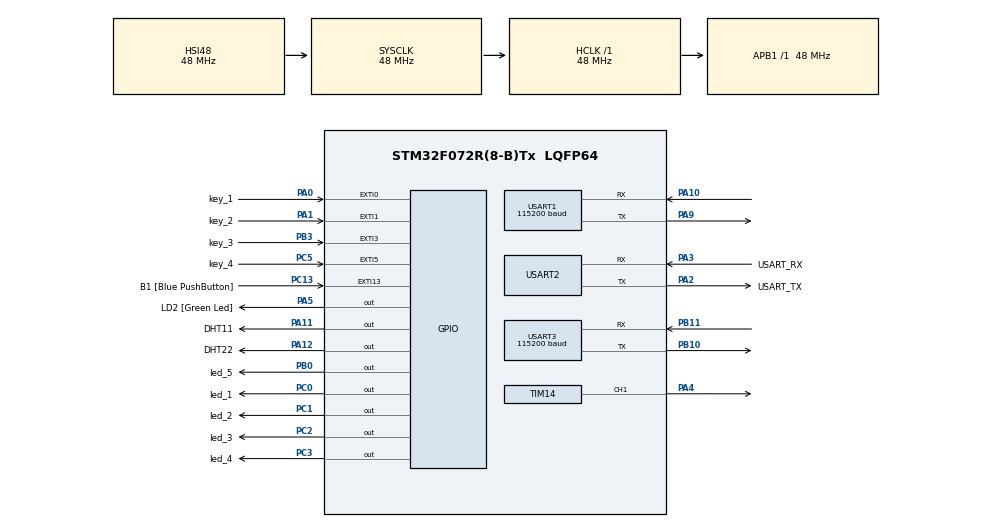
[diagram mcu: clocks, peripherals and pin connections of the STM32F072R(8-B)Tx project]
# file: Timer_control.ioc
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Mcu.Family=STM32F0
Mcu.Name=STM32F072R(8-B)Tx
Mcu.Package=LQFP64
NVIC.EXTI0_1_IRQn=true\:3\:0\:true\:false\:true\:true\:false\:true
NVIC.EXTI2_3_IRQn=true\:3\:0\:true\:false\:true\:true\:false\:true
NVIC.EXTI4_15_IRQn=true\:3\:0\:true\:false\:true\:true\:false\:true
NVIC.TIM6_DAC_IRQn=true\:1\:0\:true\:false\:true\:true\:false\:true
NVIC.TIM7_IRQn=true\:2\:0\:true\:false\:true\:true\:false\:true
NVIC.USART1_IRQn=true\:2\:0\:true\:false\:true\:true\:false\:true
PA0.GPIO_Label=key_1
PA0.Signal=GPXTI0
PA1.GPIO_Label=key_2
PA1.Signal=GPXTI1
PA10.Mode=Asynchronous
PA10.Signal=USART1_RX
PA11.GPIO_Label=DHT11
PA11.GPIO_PuPd=GPIO_PULLUP
PA11.PinState=GPIO_PIN_SET
PA11.Signal=GPIO_Output
PA12.GPIO_Label=DHT22
PA12.GPIO_PuPd=GPIO_PULLUP
PA12.PinState=GPIO_PIN_SET
PA12.Signal=GPIO_Output
PA13.GPIO_Label=TMS
PA13.Mode=Serial_Wire
PA13.Signal=SYS_SWDIO
PA14.GPIO_Label=TCK
PA14.Mode=Serial_Wire
PA14.Signal=SYS_SWCLK
PA2.GPIO_Label=USART_TX
PA2.GPIO_Mode=GPIO_MODE_AF_PP
PA2.GPIO_PuPd=GPIO_NOPULL
PA2.GPIO_Speed=GPIO_SPEED_FREQ_LOW
PA2.Mode=Asynchronous
PA2.Signal=USART2_TX
PA3.GPIO_Label=USART_RX
PA3.GPIO_Mode=GPIO_MODE_AF_PP
PA3.GPIO_PuPd=GPIO_NOPULL
PA3.GPIO_Speed=GPIO_SPEED_FREQ_LOW
PA3.Mode=Asynchronous
PA3.Signal=USART2_RX
PA4.Signal=S_TIM14_CH1
PA5.GPIO_Label=LD2 [Green Led]
PA5.GPIO_Mode=GPIO_MODE_OUTPUT_PP
PA5.GPIO_PuPd=GPIO_NOPULL
PA5.GPIO_Speed=GPIO_SPEED_FREQ_LOW
PA5.Signal=GPIO_Output
PA9.Mode=Asynchronous
PA9.Signal=USART1_TX
PB0.GPIO_Label=led_5
PB0.Signal=GPIO_Output
PB10.Mode=Asynchronous
PB10.Signal=USART3_TX
PB11.Mode=Asynchronous
PB11.Signal=USART3_RX
PB3.GPIO_Label=key_3
PB3.Signal=GPXTI3
PC0.GPIO_Label=led_1
PC0.Signal=GPIO_Output
PC1.GPIO_Label=led_2
PC1.Signal=GPIO_Output
PC13.GPIO_Label=B1 [Blue PushButton]
PC13.GPIO_ModeDefaultEXTI=GPIO_MODE_IT_FALLING
PC13.Signal=GPXTI13
PC14-OSC32_IN.Mode=LSE-External-Oscillator
PC14-OSC32_IN.Signal=RCC_OSC32_IN
PC15-OSC32_OUT.Mode=LSE-External-Oscillator
PC15-OSC32_OUT.Signal=RCC_OSC32_OUT
PC2.GPIO_Label=led_3
PC2.Signal=GPIO_Output
PC3.GPIO_Label=led_4
PC3.Signal=GPIO_Output
PC5.GPIO_Label=key_4
PC5.Signal=GPXTI5
PF0-OSC_IN.Mode=HSE-External-Clock-Source
PF0-OSC_IN.Signal=RCC_OSC_IN
PF1-OSC_OUT.Signal=RCC_OSC_OUT
ProjectManager.HeapSize=0x200
ProjectManager.StackSize=0x400
ProjectManager.TargetToolchain=MDK-ARM V5.32
RCC.AHBFreq_Value=48000000
RCC.APB1Freq_Value=48000000
RCC.APB1TimFreq_Value=48000000
RCC.FLatency-AdvancedSettings=FLASH_LATENCY_1
RCC.HCLKFreq_Value=48000000
RCC.PLLDivider=RCC_PREDIV_DIV2
RCC.PLLMUL=RCC_PLL_MUL12
RCC.PREFETCH_ENABLE-AdvancedSettings=1
RCC.SYSCLKFreq_VALUE=48000000
RCC.SYSCLKSource=RCC_SYSCLKSOURCE_HSI48
SH.S_TIM14_CH1.0=TIM14_CH1,PWM Generation1 CH1
TIM14.AutoReloadPreload=TIM_AUTORELOAD_PRELOAD_ENABLE
TIM14.Channel=TIM_CHANNEL_1
TIM14.Period=100-1
TIM14.Prescaler=480-1
TIM6.AutoReloadPreload=TIM_AUTORELOAD_PRELOAD_ENABLE
TIM6.Period=1000-1
TIM6.Prescaler=48-1
TIM7.AutoReloadPreload=TIM_AUTORELOAD_PRELOAD_ENABLE
TIM7.Period=1000-1
TIM7.Prescaler=4800-1
USART1.BaudRate=115200
USART1.DMADisableonRxErrorParam=ADVFEATURE_DMA_DISABLEONRXERROR
USART1.OverrunDisableParam=ADVFEATURE_OVERRUN_DISABLE
USART1.VirtualMode-Asynchronous=VM_ASYNC
USART2.VirtualMode=VM_ASYNC
USART2.VirtualMode-Asynchronous=VM_ASYNC
USART3.BaudRate=115200
USART3.DMADisableonRxErrorParam=ADVFEATURE_DMA_DISABLEONRXERROR
USART3.OverrunDisableParam=ADVFEATURE_OVERRUN_DISABLE
USART3.VirtualMode-Asynchronous=VM_ASYNC
VP_TIM14_VS_ClockSourceINT.Mode=Enable_Timer
VP_TIM6_VS_ClockSourceINT.Mode=Enable_Timer
VP_TIM7_VS_ClockSourceINT.Mode=Enable_Timer
board=NUCLEO-F072RB

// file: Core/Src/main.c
/* USER CODE BEGIN Header */
/**
  ******************************************************************************
  * @file           : main.c
  * @brief          : Main program body
  ******************************************************************************
  * @attention
  *
  * Copyright (c) 2026 STMicroelectronics.
  * All rights reserved.
  *
  * This software is licensed under terms that can be found in the LICENSE file
  * in the root directory of this software component.
  * If no LICENSE file comes with this software, it is provided AS-IS.
  *
  ******************************************************************************
  */
/* USER CODE END Header */
#include "main.h"

/* USER CODE BEGIN Includes */
#include <stdio.h>
#include "dht_control.h"
#include "melody_control.h"
/* USER CODE END Includes */

TIM_HandleTypeDef htim6;
TIM_HandleTypeDef htim7;
TIM_HandleTypeDef htim14;

UART_HandleTypeDef huart1;
UART_HandleTypeDef huart2;
UART_HandleTypeDef huart3;

void SystemClock_Config(void);
static void MX_GPIO_Init(void);
static void MX_TIM6_Init(void);
static void MX_TIM7_Init(void);
static void MX_USART2_UART_Init(void);
static void MX_TIM14_Init(void);
static void MX_USART1_UART_Init(void);
static void MX_USART3_UART_Init(void);

int main(void)
{

  /* MCU Configuration--------------------------------------------------------*/

  /* Reset of all peripherals, Initializes the Flash interface and the Systick. */
  HAL_Init();

  /* Configure the system clock */
  SystemClock_Config();

  /* Initialize all configured peripherals */
  MX_GPIO_Init();
  MX_TIM6_Init();
  MX_TIM7_Init();
  MX_USART2_UART_Init();
  MX_TIM14_Init();
  MX_USART1_UART_Init();
  MX_USART3_UART_Init();
  /* USER CODE BEGIN 2 */
	printf("timer control.\n\r");
	song_number=Song_off;
	//getData_DHT22();
	//getData_DHT11();
	//playMelody(Song_3);
	//playMelody(Song_2);
  //playMelody(Song_4);
  //playMelody(Song_1);
	//playMelody(Song_off);
  /* USER CODE END 2 */

  /* Infinite loop */
  /* USER CODE BEGIN WHILE */
  while (1)
  {
		switch(song_number){
			case Song_1:
				playMelody(Song_1);
				break;
			case Song_2:
				playMelody(Song_2);
				break;
			case Song_3:
				playMelody(Song_3);
				break;
			case Song_4:
				playMelody(Song_4);
				break;
			case Song_5:
				playMelody(Song_5);
				break;
			case Song_6:
				playMelody(Song_6);
				break;
			case Song_off:
			default:
				playMelody(Song_off);
				break;
		}
    /* USER CODE END WHILE */

  }
}

void SystemClock_Config(void)
{
  RCC_OscInitTypeDef RCC_OscInitStruct = {0};
  RCC_ClkInitTypeDef RCC_ClkInitStruct = {0};
  RCC_PeriphCLKInitTypeDef PeriphClkInit = {0};

  /** Initializes the RCC Oscillators according to the specified parameters
  * in the RCC_OscInitTypeDef structure.
  */
  RCC_OscInitStruct.OscillatorType = RCC_OSCILLATORTYPE_HSI48;
  RCC_OscInitStruct.HSI48State = RCC_HSI48_ON;
  RCC_OscInitStruct.PLL.PLLState = RCC_PLL_NONE;
  if (HAL_RCC_OscConfig(&RCC_OscInitStruct) != HAL_OK)
  {
    Error_Handler();
  }

  /** Initializes the CPU, AHB and APB buses clocks
  */
  RCC_ClkInitStruct.ClockType = RCC_CLOCKTYPE_HCLK|RCC_CLOCKTYPE_SYSCLK
                              |RCC_CLOCKTYPE_PCLK1;
  RCC_ClkInitStruct.SYSCLKSource = RCC_SYSCLKSOURCE_HSI48;
  RCC_ClkInitStruct.AHBCLKDivider = RCC_SYSCLK_DIV1;
  RCC_ClkInitStruct.APB1CLKDivider = RCC_HCLK_DIV1;

  if (HAL_RCC_ClockConfig(&RCC_ClkInitStruct, FLASH_LATENCY_1) != HAL_OK)
  {
    Error_Handler();
  }
  PeriphClkInit.PeriphClockSelection = RCC_PERIPHCLK_USART1|RCC_PERIPHCLK_USART2;
  PeriphClkInit.Usart1ClockSelection = RCC_USART1CLKSOURCE_PCLK1;
  PeriphClkInit.Usart2ClockSelection = RCC_USART2CLKSOURCE_PCLK1;
  if (HAL_RCCEx_PeriphCLKConfig(&PeriphClkInit) != HAL_OK)
  {
    Error_Handler();
  }
}

static void MX_TIM6_Init(void)
{

  TIM_MasterConfigTypeDef sMasterConfig = {0};

  htim6.Instance = TIM6;
  htim6.Init.Prescaler = 48-1;
  htim6.Init.CounterMode = TIM_COUNTERMODE_UP;
  htim6.Init.Period = 1000-1;
  htim6.Init.AutoReloadPreload = TIM_AUTORELOAD_PRELOAD_ENABLE;
  if (HAL_TIM_Base_Init(&htim6) != HAL_OK)
  {
    Error_Handler();
  }
  sMasterConfig.MasterOutputTrigger = TIM_TRGO_RESET;
  sMasterConfig.MasterSlaveMode = TIM_MASTERSLAVEMODE_DISABLE;
  if (HAL_TIMEx_MasterConfigSynchronization(&htim6, &sMasterConfig) != HAL_OK)
  {
    Error_Handler();
  }
  /* USER CODE BEGIN TIM6_Init 2 */
	TIM6->CR1 |= 0x1ul;
	TIM6->DIER |= 0x1ul;
  /* USER CODE END TIM6_Init 2 */

}

static void MX_TIM7_Init(void)
{

  TIM_MasterConfigTypeDef sMasterConfig = {0};

  htim7.Instance = TIM7;
  htim7.Init.Prescaler = 4800-1;
  htim7.Init.CounterMode = TIM_COUNTERMODE_UP;
  htim7.Init.Period = 1000-1;
  htim7.Init.AutoReloadPreload = TIM_AUTORELOAD_PRELOAD_ENABLE;
  if (HAL_TIM_Base_Init(&htim7) != HAL_OK)
  {
    Error_Handler();
  }
  sMasterConfig.MasterOutputTrigger = TIM_TRGO_RESET;
  sMasterConfig.MasterSlaveMode = TIM_MASTERSLAVEMODE_DISABLE;
  if (HAL_TIMEx_MasterConfigSynchronization(&htim7, &sMasterConfig) != HAL_OK)
  {
    Error_Handler();
  }
  /* USER CODE BEGIN TIM7_Init 2 */
	TIM7->CR1 |= 0x1ul;
	TIM7->DIER |= 0x1ul;
  /* USER CODE END TIM7_Init 2 */

}

static void MX_TIM14_Init(void)
{

  TIM_OC_InitTypeDef sConfigOC = {0};

  htim14.Instance = TIM14;
  htim14.Init.Prescaler = 480-1;
  htim14.Init.CounterMode = TIM_COUNTERMODE_UP;
  htim14.Init.Period = 100-1;
  htim14.Init.ClockDivision = TIM_CLOCKDIVISION_DIV1;
  htim14.Init.AutoReloadPreload = TIM_AUTORELOAD_PRELOAD_ENABLE;
  if (HAL_TIM_Base_Init(&htim14) != HAL_OK)
  {
    Error_Handler();
  }
  if (HAL_TIM_PWM_Init(&htim14) != HAL_OK)
  {
    Error_Handler();
  }
  sConfigOC.OCMode = TIM_OCMODE_PWM1;
  sConfigOC.Pulse = 0;
  sConfigOC.OCPolarity = TIM_OCPOLARITY_HIGH;
  sConfigOC.OCFastMode = TIM_OCFAST_DISABLE;
  if (HAL_TIM_PWM_ConfigChannel(&htim14, &sConfigOC, TIM_CHANNEL_1) != HAL_OK)
  {
    Error_Handler();
  }
  HAL_TIM_MspPostInit(&htim14);

}

static void MX_USART1_UART_Init(void)
{

  huart1.Instance = USART1;
  huart1.Init.BaudRate = 115200;
  huart1.Init.WordLength = UART_WORDLENGTH_8B;
  huart1.Init.StopBits = UART_STOPBITS_1;
  huart1.Init.Parity = UART_PARITY_NONE;
  huart1.Init.Mode = UART_MODE_TX_RX;
  huart1.Init.HwFlowCtl = UART_HWCONTROL_NONE;
  huart1.Init.OverSampling = UART_OVERSAMPLING_16;
  huart1.Init.OneBitSampling = UART_ONE_BIT_SAMPLE_DISABLE;
  huart1.AdvancedInit.AdvFeatureInit = UART_ADVFEATURE_RXOVERRUNDISABLE_INIT|UART_ADVFEATURE_DMADISABLEONERROR_INIT;
  huart1.AdvancedInit.OverrunDisable = UART_ADVFEATURE_OVERRUN_DISABLE;
  huart1.AdvancedInit.DMADisableonRxError = UART_ADVFEATURE_DMA_DISABLEONRXERROR;
  if (HAL_UART_Init(&huart1) != HAL_OK)
  {
    Error_Handler();
  }
  /* USER CODE BEGIN USART1_Init 2 */
	USART1->CR1 |= 0x1ul<<5;

	USART1->ICR |= 0x1ul<<6;
  /* USER CODE END USART1_Init 2 */

}

static void MX_USART2_UART_Init(void)
{

  huart2.Instance = USART2;
  huart2.Init.BaudRate = 38400;
  huart2.Init.WordLength = UART_WORDLENGTH_8B;
  huart2.Init.StopBits = UART_STOPBITS_1;
  huart2.Init.Parity = UART_PARITY_NONE;
  huart2.Init.Mode = UART_MODE_TX_RX;
  huart2.Init.HwFlowCtl = UART_HWCONTROL_NONE;
  huart2.Init.OverSampling = UART_OVERSAMPLING_16;
  huart2.Init.OneBitSampling = UART_ONE_BIT_SAMPLE_DISABLE;
  huart2.AdvancedInit.AdvFeatureInit = UART_ADVFEATURE_NO_INIT;
  if (HAL_UART_Init(&huart2) != HAL_OK)
  {
    Error_Handler();
  }

}

static void MX_USART3_UART_Init(void)
{

  huart3.Instance = USART3;
  huart3.Init.BaudRate = 115200;
  huart3.Init.WordLength = UART_WORDLENGTH_8B;
  huart3.Init.StopBits = UART_STOPBITS_1;
  huart3.Init.Parity = UART_PARITY_NONE;
  huart3.Init.Mode = UART_MODE_TX_RX;
  huart3.Init.HwFlowCtl = UART_HWCONTROL_NONE;
  huart3.Init.OverSampling = UART_OVERSAMPLING_16;
  huart3.Init.OneBitSampling = UART_ONE_BIT_SAMPLE_DISABLE;
  huart3.AdvancedInit.AdvFeatureInit = UART_ADVFEATURE_RXOVERRUNDISABLE_INIT|UART_ADVFEATURE_DMADISABLEONERROR_INIT;
  huart3.AdvancedInit.OverrunDisable = UART_ADVFEATURE_OVERRUN_DISABLE;
  huart3.AdvancedInit.DMADisableonRxError = UART_ADVFEATURE_DMA_DISABLEONRXERROR;
  if (HAL_UART_Init(&huart3) != HAL_OK)
  {
    Error_Handler();
  }

}

static void MX_GPIO_Init(void)
{
  GPIO_InitTypeDef GPIO_InitStruct = {0};

  /* GPIO Ports Clock Enable */
  __HAL_RCC_GPIOC_CLK_ENABLE();
  __HAL_RCC_GPIOF_CLK_ENABLE();
  __HAL_RCC_GPIOA_CLK_ENABLE();
  __HAL_RCC_GPIOB_CLK_ENABLE();

  /*Configure GPIO pin Output Level */
  HAL_GPIO_WritePin(GPIOC, led_1_Pin|led_2_Pin|led_3_Pin|led_4_Pin, GPIO_PIN_RESET);

  /*Configure GPIO pin Output Level */
  HAL_GPIO_WritePin(LD2_GPIO_Port, LD2_Pin, GPIO_PIN_RESET);

  /*Configure GPIO pin Output Level */
  HAL_GPIO_WritePin(led_5_GPIO_Port, led_5_Pin, GPIO_PIN_RESET);

  /*Configure GPIO pin Output Level */
  HAL_GPIO_WritePin(GPIOA, DHT11_Pin|DHT22_Pin, GPIO_PIN_SET);

  /*Configure GPIO pin : B1_Pin */
  GPIO_InitStruct.Pin = B1_Pin;
  GPIO_InitStruct.Mode = GPIO_MODE_IT_FALLING;
  GPIO_InitStruct.Pull = GPIO_NOPULL;
  HAL_GPIO_Init(B1_GPIO_Port, &GPIO_InitStruct);

  /*Configure GPIO pins : led_1_Pin led_2_Pin led_3_Pin led_4_Pin */
  GPIO_InitStruct.Pin = led_1_Pin|led_2_Pin|led_3_Pin|led_4_Pin;
  GPIO_InitStruct.Mode = GPIO_MODE_OUTPUT_PP;
  GPIO_InitStruct.Pull = GPIO_NOPULL;
  GPIO_InitStruct.Speed = GPIO_SPEED_FREQ_LOW;
  HAL_GPIO_Init(GPIOC, &GPIO_InitStruct);

  /*Configure GPIO pins : key_1_Pin key_2_Pin */
  GPIO_InitStruct.Pin = key_1_Pin|key_2_Pin;
  GPIO_InitStruct.Mode = GPIO_MODE_IT_RISING;
  GPIO_InitStruct.Pull = GPIO_NOPULL;
  HAL_GPIO_Init(GPIOA, &GPIO_InitStruct);

  /*Configure GPIO pin : LD2_Pin */
  GPIO_InitStruct.Pin = LD2_Pin;
  GPIO_InitStruct.Mode = GPIO_MODE_OUTPUT_PP;
  GPIO_InitStruct.Pull = GPIO_NOPULL;
  GPIO_InitStruct.Speed = GPIO_SPEED_FREQ_LOW;
  HAL_GPIO_Init(LD2_GPIO_Port, &GPIO_InitStruct);

  /*Configure GPIO pin : key_4_Pin */
  GPIO_InitStruct.Pin = key_4_Pin;
  GPIO_InitStruct.Mode = GPIO_MODE_IT_RISING;
  GPIO_InitStruct.Pull = GPIO_NOPULL;
  HAL_GPIO_Init(key_4_GPIO_Port, &GPIO_InitStruct);

  /*Configure GPIO pin : led_5_Pin */
  GPIO_InitStruct.Pin = led_5_Pin;
  GPIO_InitStruct.Mode = GPIO_MODE_OUTPUT_PP;
  GPIO_InitStruct.Pull = GPIO_NOPULL;
  GPIO_InitStruct.Speed = GPIO_SPEED_FREQ_LOW;
  HAL_GPIO_Init(led_5_GPIO_Port, &GPIO_InitStruct);

  /*Configure GPIO pins : DHT11_Pin DHT22_Pin */
  GPIO_InitStruct.Pin = DHT11_Pin|DHT22_Pin;
  GPIO_InitStruct.Mode = GPIO_MODE_OUTPUT_PP;
  GPIO_InitStruct.Pull = GPIO_PULLUP;
  GPIO_InitStruct.Speed = GPIO_SPEED_FREQ_LOW;
  HAL_GPIO_Init(GPIOA, &GPIO_InitStruct);

  /*Configure GPIO pin : key_3_Pin */
  GPIO_InitStruct.Pin = key_3_Pin;
  GPIO_InitStruct.Mode = GPIO_MODE_IT_RISING;
  GPIO_InitStruct.Pull = GPIO_NOPULL;
  HAL_GPIO_Init(key_3_GPIO_Port, &GPIO_InitStruct);

  /* EXTI interrupt init*/
  HAL_NVIC_SetPriority(EXTI0_1_IRQn, 3, 0);
  HAL_NVIC_EnableIRQ(EXTI0_1_IRQn);

  HAL_NVIC_SetPriority(EXTI2_3_IRQn, 3, 0);
  HAL_NVIC_EnableIRQ(EXTI2_3_IRQn);

  HAL_NVIC_SetPriority(EXTI4_15_IRQn, 3, 0);
  HAL_NVIC_EnableIRQ(EXTI4_15_IRQn);

}

void Error_Handler(void)
{
  __disable_irq();
  while (1)
  {
  }
}
